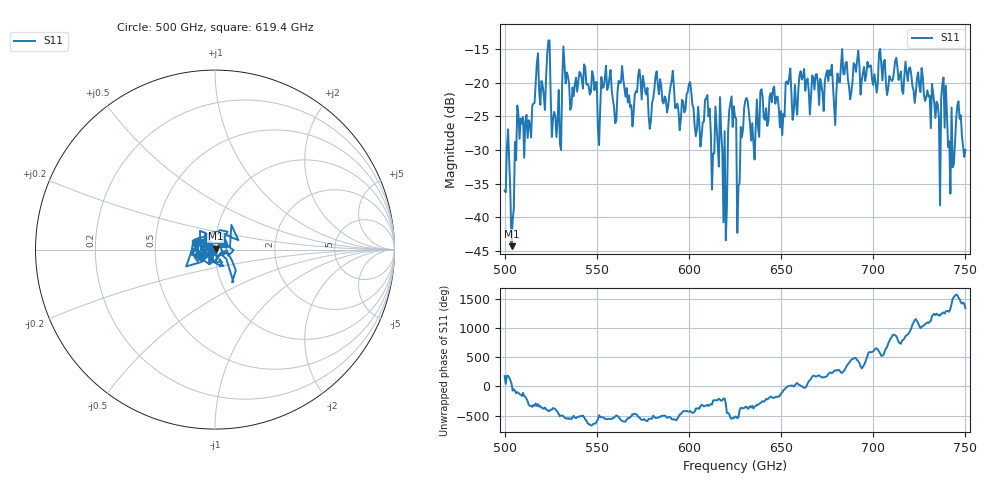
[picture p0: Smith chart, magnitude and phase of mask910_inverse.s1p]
!Created with skrf (http://scikit-rf.org).
# GHz S MA R 50.0
!freq magS11 angS11
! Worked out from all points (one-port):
!   401 points, 500 GHz to 750 GHz, reference 50 ohm
!   lowest |S11| = -44.3 dB at 503.8 GHz (marker M1), VSWR 1.01, Z = 50.4 + j0.445 ohm
!   |S11| at or under -10 dB: start of sweep to end of sweep
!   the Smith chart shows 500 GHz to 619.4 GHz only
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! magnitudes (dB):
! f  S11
! 500 GHz  -36.1
! 501.9 GHz  -26.9
! 503.8 GHz  -44.3
! 508.1 GHz  -28.3
! 513.8 GHz  -26.2
! 516.9 GHz  -20.0
! 523.8 GHz  -13.7
! 529.4 GHz  -21.1
! 531.2 GHz  -19.8
! 562.5 GHz  -20.1
! 593.8 GHz  -23.1
! 610 GHz  -21.8
! 612.5 GHz  -35.9
! 618.1 GHz  -30.0
! 619.4 GHz  -27.2
! 622.5 GHz  -23.0
! 625 GHz  -25.1
! 627.5 GHz  -34.9
! 631.2 GHz  -22.3
! 635 GHz  -28.9
! 656.2 GHz  -25.5
! 687.5 GHz  -22.5
! 718.8 GHz  -19.7
! 735 GHz  -23.3
! 738.1 GHz  -19.2
! 742.5 GHz  -23.7
! 746.2 GHz  -22.8
! 750 GHz  -30.0
